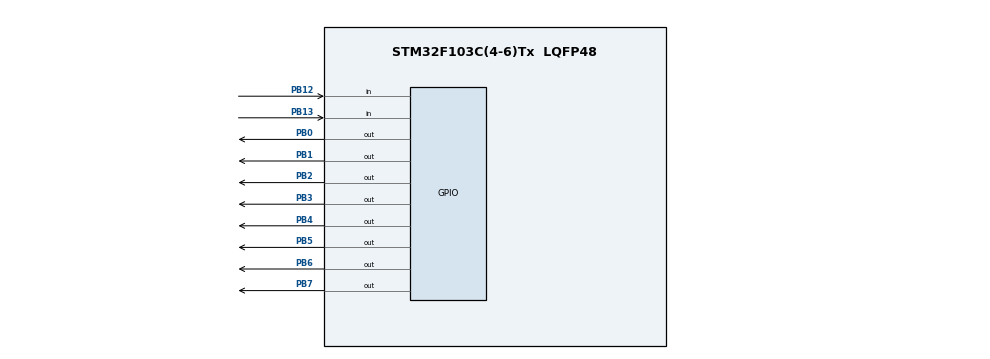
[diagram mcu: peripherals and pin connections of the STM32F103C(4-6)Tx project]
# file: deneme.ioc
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Mcu.Family=STM32F1
Mcu.Name=STM32F103C(4-6)Tx
Mcu.Package=LQFP48
NVIC.PriorityGroup=NVIC_PRIORITYGROUP_4
PB0.Signal=GPIO_Output
PB1.Signal=GPIO_Output
PB12.GPIO_PuPd=GPIO_PULLUP
PB12.Signal=GPIO_Input
PB13.GPIO_PuPd=GPIO_PULLUP
PB13.Signal=GPIO_Input
PB2.Signal=GPIO_Output
PB3.Signal=GPIO_Output
PB4.Signal=GPIO_Output
PB5.Signal=GPIO_Output
PB6.Signal=GPIO_Output
PB7.Signal=GPIO_Output
PD0-OSC_IN.Mode=HSE-External-Oscillator
PD0-OSC_IN.Signal=RCC_OSC_IN
PD1-OSC_OUT.Mode=HSE-External-Oscillator
PD1-OSC_OUT.Signal=RCC_OSC_OUT
ProjectManager.HeapSize=0x200
ProjectManager.StackSize=0x400
ProjectManager.TargetToolchain=STM32CubeIDE
RCC.AHBCLKDivider=RCC_SYSCLK_DIV2
RCC.AHBFreq_Value=4000000
RCC.APB1CLKDivider=RCC_HCLK_DIV2
RCC.APB1Freq_Value=2000000
RCC.APB1TimFreq_Value=4000000
RCC.APB2Freq_Value=4000000
RCC.APB2TimFreq_Value=4000000
RCC.HCLKFreq_Value=4000000
RCC.SYSCLKSource=RCC_SYSCLKSOURCE_HSE
VP_SYS_VS_ND.Mode=No_Debug
board=custom

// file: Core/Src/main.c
/* USER CODE BEGIN Header */
/**
  ******************************************************************************
  * @file           : main.c
  * @brief          : Main program body
  ******************************************************************************
  * @attention
  *
  * <h2><center>&copy; Copyright (c) 2020 STMicroelectronics.
  * All rights reserved.</center></h2>
  *
  * This software component is licensed by ST under BSD 3-Clause license,
  * the "License"; You may not use this file except in compliance with the
  * License. You may obtain a copy of the License at:
  *                        opensource.org/licenses/BSD-3-Clause
  *
  ******************************************************************************
  */
/* USER CODE END Header */

#include "main.h"

/* USER CODE BEGIN PV */
uint16_t hiz=0;
uint16_t x=1;

/* USER CODE END PV */

void SystemClock_Config(void);
static void MX_GPIO_Init(void);

int main(void)
{

  /* MCU Configuration--------------------------------------------------------*/

  /* Reset of all peripherals, Initializes the Flash interface and the Systick. */
  HAL_Init();

  /* Configure the system clock */
  SystemClock_Config();

  /* Initialize all configured peripherals */
  MX_GPIO_Init();

  /* Infinite loop */
  /* USER CODE BEGIN WHILE */
  while (1)
  {
	  if(hiz==0)
	  {
		  GPIOB->ODR=~x;
		 	    x=x<<1;
		 	    if(x>0x80)
		 	    	x=1;
		 	    HAL_Delay(500);//500 ms hızla sola kayacak
	  }
	  if(HAL_GPIO_ReadPin(GPIOB,GPIO_PIN_12)==0) {
		hiz=1;
	  }
	  if(HAL_GPIO_ReadPin(GPIOB,GPIO_PIN_13)==0) {
		  hiz=2;
	  }
	   if(hiz==1){
	    GPIOB->ODR=~x;
	    x=x<<1;
	    if(x>0x80)
	    	x=1;
	    HAL_Delay(100);
	   }
	    if(hiz==2){
	     GPIOB->ODR=~x;
	     x=x<<1;
	     if(x>0x80)
	    	 x=1;
	     HAL_Delay(700);
	    }

    /* USER CODE END WHILE */

  }
}

void SystemClock_Config(void)
{
  RCC_OscInitTypeDef RCC_OscInitStruct = {0};
  RCC_ClkInitTypeDef RCC_ClkInitStruct = {0};

  /** Initializes the CPU, AHB and APB busses clocks
  */
  RCC_OscInitStruct.OscillatorType = RCC_OSCILLATORTYPE_HSE;
  RCC_OscInitStruct.HSEState = RCC_HSE_ON;
  RCC_OscInitStruct.PLL.PLLState = RCC_PLL_NONE;
  if (HAL_RCC_OscConfig(&RCC_OscInitStruct) != HAL_OK)
  {
    Error_Handler();
  }
  /** Initializes the CPU, AHB and APB busses clocks
  */
  RCC_ClkInitStruct.ClockType = RCC_CLOCKTYPE_HCLK|RCC_CLOCKTYPE_SYSCLK
                              |RCC_CLOCKTYPE_PCLK1|RCC_CLOCKTYPE_PCLK2;
  RCC_ClkInitStruct.SYSCLKSource = RCC_SYSCLKSOURCE_HSE;
  RCC_ClkInitStruct.AHBCLKDivider = RCC_SYSCLK_DIV2;
  RCC_ClkInitStruct.APB1CLKDivider = RCC_HCLK_DIV2;
  RCC_ClkInitStruct.APB2CLKDivider = RCC_HCLK_DIV1;

  if (HAL_RCC_ClockConfig(&RCC_ClkInitStruct, FLASH_LATENCY_0) != HAL_OK)
  {
    Error_Handler();
  }
}

static void MX_GPIO_Init(void)
{
  GPIO_InitTypeDef GPIO_InitStruct = {0};

  /* GPIO Ports Clock Enable */
  __HAL_RCC_GPIOD_CLK_ENABLE();
  __HAL_RCC_GPIOB_CLK_ENABLE();

  /*Configure GPIO pin Output Level */
  HAL_GPIO_WritePin(GPIOB, GPIO_PIN_0|GPIO_PIN_1|GPIO_PIN_2|GPIO_PIN_3
                          |GPIO_PIN_4|GPIO_PIN_5|GPIO_PIN_6|GPIO_PIN_7, GPIO_PIN_RESET);

  /*Configure GPIO pins : PB0 PB1 PB2 PB3
                           PB4 PB5 PB6 PB7 */
  GPIO_InitStruct.Pin = GPIO_PIN_0|GPIO_PIN_1|GPIO_PIN_2|GPIO_PIN_3
                          |GPIO_PIN_4|GPIO_PIN_5|GPIO_PIN_6|GPIO_PIN_7;
  GPIO_InitStruct.Mode = GPIO_MODE_OUTPUT_PP;
  GPIO_InitStruct.Pull = GPIO_NOPULL;
  GPIO_InitStruct.Speed = GPIO_SPEED_FREQ_LOW;
  HAL_GPIO_Init(GPIOB, &GPIO_InitStruct);

  /*Configure GPIO pins : PB12 PB13 */
  GPIO_InitStruct.Pin = GPIO_PIN_12|GPIO_PIN_13;
  GPIO_InitStruct.Mode = GPIO_MODE_INPUT;
  GPIO_InitStruct.Pull = GPIO_PULLUP;
  HAL_GPIO_Init(GPIOB, &GPIO_InitStruct);

}

void Error_Handler(void)
{
}

/************************ (C) COPYRIGHT STMicroelectronics *****END OF FILE****/
